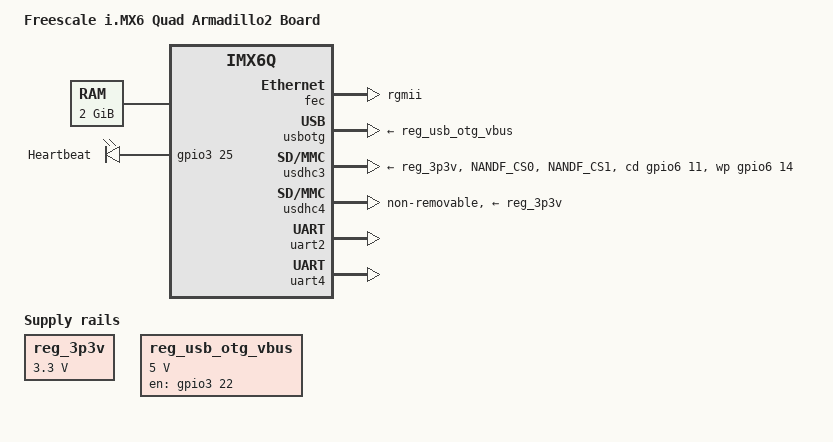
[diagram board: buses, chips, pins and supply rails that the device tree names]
/*
 * Copyright 2011 Freescale Semiconductor, Inc.
 * Copyright 2011 Linaro Ltd.
 *
 * The code contained herein is licensed under the GNU General Public
 * License. You may obtain a copy of the GNU General Public License
 * Version 2 or later at the following locations:
 *
 * http://www.opensource.org/licenses/gpl-license.html
 * http://www.gnu.org/copyleft/gpl.html
 */

/dts-v1/;
#include "imx6q.dtsi"

/ {
	model = "Freescale i.MX6 Quad Armadillo2 Board";
	compatible = "fsl,imx6q-arm2", "fsl,imx6q";

	memory {
		reg = <0x10000000 0x80000000>;
	};

	regulators {
		compatible = "simple-bus";
		#address-cells = <1>;
		#size-cells = <0>;

		reg_3p3v: regulator@0 {
			compatible = "regulator-fixed";
			reg = <0>;
			regulator-name = "3P3V";
			regulator-min-microvolt = <3300000>;
			regulator-max-microvolt = <3300000>;
			regulator-always-on;
		};

		reg_usb_otg_vbus: regulator@1 {
			compatible = "regulator-fixed";
			reg = <1>;
			regulator-name = "usb_otg_vbus";
			regulator-min-microvolt = <5000000>;
			regulator-max-microvolt = <5000000>;
			gpio = <&gpio3 22 0>;
			enable-active-high;
		};
	};

	leds {
		compatible = "gpio-leds";

		debug-led {
			label = "Heartbeat";
			gpios = <&gpio3 25 0>;
			linux,default-trigger = "heartbeat";
		};
	};
};

&gpmi {
	pinctrl-names = "default";
	pinctrl-0 = <&pinctrl_gpmi_nand>;
	status = "disabled"; /* gpmi nand conflicts with SD */
};

&iomuxc {
	pinctrl-names = "default";
	pinctrl-0 = <&pinctrl_hog>;

	imx6q-arm2 {
		pinctrl_hog: hoggrp {
			fsl,pins = <
				MX6QDL_PAD_EIM_D25__GPIO3_IO25 0x80000000
			>;
		};

		pinctrl_enet: enetgrp {
			fsl,pins = <MX6QDL_ENET_PINGRP2>;
		};

		pinctrl_gpmi_nand: gpminandgrp {
			fsl,pins = <MX6QDL_GPMI_NAND_PINGRP1>;
		};

		pinctrl_uart2: uart2grp {
			fsl,pins = <MX6QDL_UART2_PINGRP2>;
		};

		pinctrl_uart4: uart4grp {
			fsl,pins = <MX6QDL_UART4_PINGRP1>;
		};

		pinctrl_usbotg: usbotggrp {
			fsl,pins = <MX6QDL_USBOTG_PINGRP1>;
		};

		pinctrl_usdhc3: usdhc3grp {
			fsl,pins = <MX6QDL_USDHC3_PINGRP1>;
		};

		pinctrl_usdhc3_cdwp: usdhc3cdwp {
			fsl,pins = <
				MX6QDL_PAD_NANDF_CS0__GPIO6_IO11 0x80000000
				MX6QDL_PAD_NANDF_CS1__GPIO6_IO14 0x80000000
			>;
		};

		pinctrl_usdhc4: usdhc4grp {
			fsl,pins = <MX6QDL_USDHC4_PINGRP1>;
		};
	};
};

&fec {
	pinctrl-names = "default";
	pinctrl-0 = <&pinctrl_enet>;
	phy-mode = "rgmii";
	status = "okay";
};

&usbotg {
	vbus-supply = <&reg_usb_otg_vbus>;
	pinctrl-names = "default";
	pinctrl-0 = <&pinctrl_usbotg>;
	disable-over-current;
	status = "okay";
};

&usdhc3 {
	cd-gpios = <&gpio6 11 0>;
	wp-gpios = <&gpio6 14 0>;
	vmmc-supply = <&reg_3p3v>;
	pinctrl-names = "default";
	pinctrl-0 = <&pinctrl_usdhc3
		     &pinctrl_usdhc3_cdwp>;
	status = "okay";
};

&usdhc4 {
	non-removable;
	vmmc-supply = <&reg_3p3v>;
	pinctrl-names = "default";
	pinctrl-0 = <&pinctrl_usdhc4>;
	status = "okay";
};

&uart2 {
	pinctrl-names = "default";
	pinctrl-0 = <&pinctrl_uart2>;
	fsl,dte-mode;
	fsl,uart-has-rtscts;
	status = "okay";
};

&uart4 {
	pinctrl-names = "default";
	pinctrl-0 = <&pinctrl_uart4>;
	status = "okay";
};
